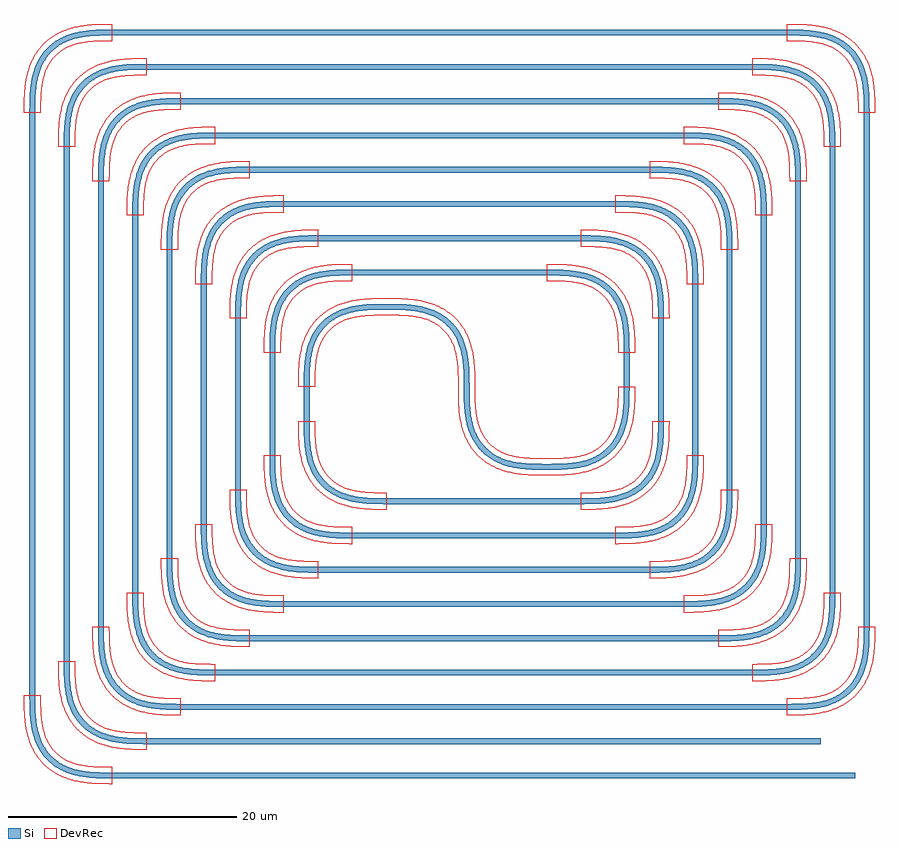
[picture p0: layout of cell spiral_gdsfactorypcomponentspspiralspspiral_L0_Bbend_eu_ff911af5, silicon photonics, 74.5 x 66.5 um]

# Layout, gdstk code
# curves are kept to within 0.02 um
from math import pi, radians
import gdstk
lib = gdstk.Library(unit=1e-6, precision=1e-09)
def R(c, l, rs):  # rectangles x0, y0, x1, y1
    for r in rs: c.add(gdstk.rectangle(r[:2], r[2:], *l))
def P(c, l, *ps):  # polygons
    for p in ps: c.add(gdstk.Polygon(p, *l))
Si = (1, 0)
DevRec = (68, 0)

straight_l3_csxs_491b35b = lib.new_cell('straight_L3_CSxs_491b35bd_WNone_N2$1')
R(straight_l3_csxs_491b35b, Si, [(0,-0.25,3,0.25)])

straight_l47_csxs_491b35 = lib.new_cell('straight_L47_CSxs_491b35bd_WNone_N2')
R(straight_l47_csxs_491b35, Si, [(0,-0.25,47,0.25)])

bend_euler_gdsfactorypco = lib.new_cell('bend_euler_gdsfactorypcomponentspbendspbend_euler_R7_A9_be902ce5$1')
P(bend_euler_gdsfactorypco, Si, [(0,-0.25),(0,0.25),(1.128,0.261),(1.963,0.311),(2.647,0.4),(3.315,0.55),(3.955,0.773),(4.438,1.011),(4.899,1.315),(5.318,1.682),(5.685,2.101),(5.989,2.562),(6.227,3.045),(6.45,3.685),(6.6,4.353),(6.689,5.037),(6.739,5.872),(6.75,7),(7.25,7),(7.238,5.856),(7.187,4.99),(7.092,4.267),(6.931,3.55),(6.744,2.988),(6.424,2.314),(6.083,1.798),(5.672,1.328),(5.202,0.917),(4.686,0.576),(4.012,0.256),(3.45,0.069),(2.733,-0.092),(2.01,-0.187),(1.144,-0.238)])
P(bend_euler_gdsfactorypco, DevRec, [(0,-0.75),(0,0.75),(1.785,0.797),(2.435,0.872),(3.059,0.999),(3.648,1.188),(4.087,1.388),(4.497,1.64),(4.965,2.035),(5.36,2.503),(5.612,2.913),(5.812,3.352),(6.001,3.941),(6.128,4.565),(6.203,5.215),(6.25,7),(7.75,7),(7.738,5.841),(7.685,4.944),(7.585,4.182),(7.413,3.414),(7.148,2.655),(6.858,2.066),(6.481,1.495),(6.025,0.975),(5.505,0.519),(4.934,0.142),(4.345,-0.148),(3.586,-0.413),(2.818,-0.585),(2.056,-0.685),(1.159,-0.738)])

straight_l35_csxs_491b35 = lib.new_cell('straight_L35_CSxs_491b35bd_WNone_N2')
R(straight_l35_csxs_491b35, Si, [(0,-0.25,35,0.25)])

straight_l17_csxs_491b35 = lib.new_cell('straight_L17_CSxs_491b35bd_WNone_N2')
R(straight_l17_csxs_491b35, Si, [(0,-0.25,17,0.25)])

straight_l9_csxs_491b35b = lib.new_cell('straight_L9_CSxs_491b35bd_WNone_N2$1')
R(straight_l9_csxs_491b35b, Si, [(0,-0.25,9,0.25)])

straight_l23_csxs_491b35 = lib.new_cell('straight_L23_CSxs_491b35bd_WNone_N2')
R(straight_l23_csxs_491b35, Si, [(0,-0.25,23,0.25)])

straight_l15_csxs_491b35 = lib.new_cell('straight_L15_CSxs_491b35bd_WNone_N2$1')
R(straight_l15_csxs_491b35, Si, [(0,-0.25,15,0.25)])

straight_l29_csxs_491b35 = lib.new_cell('straight_L29_CSxs_491b35bd_WNone_N2')
R(straight_l29_csxs_491b35, Si, [(0,-0.25,29,0.25)])

straight_l21_csxs_491b35 = lib.new_cell('straight_L21_CSxs_491b35bd_WNone_N2$1')
R(straight_l21_csxs_491b35, Si, [(0,-0.25,21,0.25)])

straight_l33_csxs_491b35 = lib.new_cell('straight_L33_CSxs_491b35bd_WNone_N2$1')
R(straight_l33_csxs_491b35, Si, [(0,-0.25,33,0.25)])

straight_l27_csxs_491b35 = lib.new_cell('straight_L27_CSxs_491b35bd_WNone_N2$1')
R(straight_l27_csxs_491b35, Si, [(0,-0.25,27,0.25)])

straight_l41_csxs_491b35 = lib.new_cell('straight_L41_CSxs_491b35bd_WNone_N2')
R(straight_l41_csxs_491b35, Si, [(0,-0.25,41,0.25)])

straight_l39_csxs_491b35 = lib.new_cell('straight_L39_CSxs_491b35bd_WNone_N2$1')
R(straight_l39_csxs_491b35, Si, [(0,-0.25,39,0.25)])

straight_l53_csxs_491b35 = lib.new_cell('straight_L53_CSxs_491b35bd_WNone_N2')
R(straight_l53_csxs_491b35, Si, [(0,-0.25,53,0.25)])

straight_l45_csxs_491b35 = lib.new_cell('straight_L45_CSxs_491b35bd_WNone_N2$1')
R(straight_l45_csxs_491b35, Si, [(0,-0.25,45,0.25)])

straight_l59_csxs_491b35 = lib.new_cell('straight_L59_CSxs_491b35bd_WNone_N2')
R(straight_l59_csxs_491b35, Si, [(0,-0.25,59,0.25)])

straight_l51_csxs_491b35 = lib.new_cell('straight_L51_CSxs_491b35bd_WNone_N2$1')
R(straight_l51_csxs_491b35, Si, [(0,-0.25,51,0.25)])

straight_l65_csxs_491b35 = lib.new_cell('straight_L65_CSxs_491b35bd_WNone_N2')
R(straight_l65_csxs_491b35, Si, [(0,-0.25,65,0.25)])

spiral_gdsfactorypcompon = lib.new_cell('spiral_gdsfactorypcomponentspspiralspspiral_L0_Bbend_eu_ff911af5')
spiral_gdsfactorypcompon.add(gdstk.Reference(straight_l3_csxs_491b35b, (7,7), rotation=pi/2))
spiral_gdsfactorypcompon.add(gdstk.Reference(straight_l47_csxs_491b35, (-29,-18)))
spiral_gdsfactorypcompon.add(gdstk.Reference(bend_euler_gdsfactorypco, (0,0), rotation=pi, x_reflection=True))
spiral_gdsfactorypcompon.add(gdstk.Reference(bend_euler_gdsfactorypco, (-7,7), rotation=pi/2))
spiral_gdsfactorypcompon.add(gdstk.Reference(bend_euler_gdsfactorypco, (7,10), rotation=pi/2))
spiral_gdsfactorypcompon.add(gdstk.Reference(bend_euler_gdsfactorypco, (10,13), rotation=pi/2))
spiral_gdsfactorypcompon.add(gdstk.Reference(bend_euler_gdsfactorypco, (13,16), rotation=pi/2))
spiral_gdsfactorypcompon.add(gdstk.Reference(bend_euler_gdsfactorypco, (16,19), rotation=pi/2))
spiral_gdsfactorypcompon.add(gdstk.Reference(bend_euler_gdsfactorypco, (19,22), rotation=pi/2))
spiral_gdsfactorypcompon.add(gdstk.Reference(bend_euler_gdsfactorypco, (22,25), rotation=pi/2))
spiral_gdsfactorypcompon.add(gdstk.Reference(bend_euler_gdsfactorypco, (25,28), rotation=pi/2))
spiral_gdsfactorypcompon.add(gdstk.Reference(bend_euler_gdsfactorypco, (28,31), rotation=pi/2))
spiral_gdsfactorypcompon.add(gdstk.Reference(straight_l35_csxs_491b35, (9,26), rotation=pi))
spiral_gdsfactorypcompon.add(gdstk.Reference(bend_euler_gdsfactorypco, (-14,14), rotation=pi))
spiral_gdsfactorypcompon.add(gdstk.Reference(bend_euler_gdsfactorypco, (-17,17), rotation=pi))
spiral_gdsfactorypcompon.add(gdstk.Reference(bend_euler_gdsfactorypco, (-20,20), rotation=pi))
spiral_gdsfactorypcompon.add(gdstk.Reference(bend_euler_gdsfactorypco, (-23,23), rotation=pi))
spiral_gdsfactorypcompon.add(gdstk.Reference(bend_euler_gdsfactorypco, (-26,26), rotation=pi))
spiral_gdsfactorypcompon.add(gdstk.Reference(bend_euler_gdsfactorypco, (-29,29), rotation=pi))
spiral_gdsfactorypcompon.add(gdstk.Reference(bend_euler_gdsfactorypco, (-32,32), rotation=pi))
spiral_gdsfactorypcompon.add(gdstk.Reference(bend_euler_gdsfactorypco, (-35,35), rotation=pi))
spiral_gdsfactorypcompon.add(gdstk.Reference(bend_euler_gdsfactorypco, (-38,38), rotation=pi))
spiral_gdsfactorypcompon.add(gdstk.Reference(bend_euler_gdsfactorypco, (-45,-20), rotation=3*pi/2))
spiral_gdsfactorypcompon.add(gdstk.Reference(bend_euler_gdsfactorypco, (-42,-17), rotation=3*pi/2))
spiral_gdsfactorypcompon.add(gdstk.Reference(bend_euler_gdsfactorypco, (-39,-14), rotation=3*pi/2))
spiral_gdsfactorypcompon.add(gdstk.Reference(bend_euler_gdsfactorypco, (-36,-11), rotation=3*pi/2))
spiral_gdsfactorypcompon.add(gdstk.Reference(bend_euler_gdsfactorypco, (-33,-8), rotation=3*pi/2))
spiral_gdsfactorypcompon.add(gdstk.Reference(bend_euler_gdsfactorypco, (-30,-5), rotation=3*pi/2))
spiral_gdsfactorypcompon.add(gdstk.Reference(bend_euler_gdsfactorypco, (-27,-2), rotation=3*pi/2))
spiral_gdsfactorypcompon.add(gdstk.Reference(bend_euler_gdsfactorypco, (-24,1), rotation=3*pi/2))
spiral_gdsfactorypcompon.add(gdstk.Reference(bend_euler_gdsfactorypco, (-21,4), rotation=3*pi/2))
spiral_gdsfactorypcompon.add(gdstk.Reference(straight_l17_csxs_491b35, (-14,-3)))
spiral_gdsfactorypcompon.add(gdstk.Reference(straight_l3_csxs_491b35b, (-21,7), rotation=3*pi/2))
spiral_gdsfactorypcompon.add(gdstk.Reference(straight_l35_csxs_491b35, (-23,-12)))
spiral_gdsfactorypcompon.add(gdstk.Reference(bend_euler_gdsfactorypco, (21,-21)))
spiral_gdsfactorypcompon.add(gdstk.Reference(bend_euler_gdsfactorypco, (18,-18)))
spiral_gdsfactorypcompon.add(gdstk.Reference(bend_euler_gdsfactorypco, (15,-15)))
spiral_gdsfactorypcompon.add(gdstk.Reference(bend_euler_gdsfactorypco, (12,-12)))
spiral_gdsfactorypcompon.add(gdstk.Reference(bend_euler_gdsfactorypco, (9,-9)))
spiral_gdsfactorypcompon.add(gdstk.Reference(bend_euler_gdsfactorypco, (6,-6)))
spiral_gdsfactorypcompon.add(gdstk.Reference(bend_euler_gdsfactorypco, (3,-3)))
spiral_gdsfactorypcompon.add(gdstk.Reference(bend_euler_gdsfactorypco, (0,0)))
spiral_gdsfactorypcompon.add(gdstk.Reference(straight_l9_csxs_491b35b, (10,4), rotation=pi/2))
spiral_gdsfactorypcompon.add(gdstk.Reference(straight_l17_csxs_491b35, (0,17), rotation=pi))
spiral_gdsfactorypcompon.add(gdstk.Reference(straight_l23_csxs_491b35, (3,20), rotation=pi))
spiral_gdsfactorypcompon.add(gdstk.Reference(straight_l9_csxs_491b35b, (-24,10), rotation=3*pi/2))
spiral_gdsfactorypcompon.add(gdstk.Reference(straight_l15_csxs_491b35, (-27,13), rotation=3*pi/2))
spiral_gdsfactorypcompon.add(gdstk.Reference(straight_l23_csxs_491b35, (-17,-6)))
spiral_gdsfactorypcompon.add(gdstk.Reference(straight_l29_csxs_491b35, (-20,-9)))
spiral_gdsfactorypcompon.add(gdstk.Reference(straight_l15_csxs_491b35, (13,1), rotation=pi/2))
spiral_gdsfactorypcompon.add(gdstk.Reference(straight_l21_csxs_491b35, (16,-2), rotation=pi/2))
spiral_gdsfactorypcompon.add(gdstk.Reference(straight_l29_csxs_491b35, (6,23), rotation=pi))
spiral_gdsfactorypcompon.add(gdstk.Reference(straight_l21_csxs_491b35, (-30,16), rotation=3*pi/2))
spiral_gdsfactorypcompon.add(gdstk.Reference(straight_l33_csxs_491b35, (22,-8), rotation=pi/2))
spiral_gdsfactorypcompon.add(gdstk.Reference(straight_l27_csxs_491b35, (-33,19), rotation=3*pi/2))
spiral_gdsfactorypcompon.add(gdstk.Reference(straight_l41_csxs_491b35, (-26,-15)))
spiral_gdsfactorypcompon.add(gdstk.Reference(straight_l33_csxs_491b35, (-36,22), rotation=3*pi/2))
spiral_gdsfactorypcompon.add(gdstk.Reference(straight_l27_csxs_491b35, (19,-5), rotation=pi/2))
spiral_gdsfactorypcompon.add(gdstk.Reference(straight_l41_csxs_491b35, (12,29), rotation=pi))
spiral_gdsfactorypcompon.add(gdstk.Reference(straight_l47_csxs_491b35, (15,32), rotation=pi))
spiral_gdsfactorypcompon.add(gdstk.Reference(straight_l39_csxs_491b35, (-39,25), rotation=3*pi/2))
spiral_gdsfactorypcompon.add(gdstk.Reference(straight_l53_csxs_491b35, (-32,-21)))
spiral_gdsfactorypcompon.add(gdstk.Reference(straight_l39_csxs_491b35, (25,-11), rotation=pi/2))
spiral_gdsfactorypcompon.add(gdstk.Reference(straight_l45_csxs_491b35, (28,-14), rotation=pi/2))
spiral_gdsfactorypcompon.add(gdstk.Reference(straight_l53_csxs_491b35, (18,35), rotation=pi))
spiral_gdsfactorypcompon.add(gdstk.Reference(straight_l59_csxs_491b35, (21,38), rotation=pi))
spiral_gdsfactorypcompon.add(gdstk.Reference(straight_l45_csxs_491b35, (-42,28), rotation=3*pi/2))
spiral_gdsfactorypcompon.add(gdstk.Reference(straight_l51_csxs_491b35, (-45,31), rotation=3*pi/2))
spiral_gdsfactorypcompon.add(gdstk.Reference(straight_l59_csxs_491b35, (-35,-24)))
spiral_gdsfactorypcompon.add(gdstk.Reference(straight_l65_csxs_491b35, (-38,-27)))

lib.write_gds('spiral_gdsfactorypcomponentspspiralspspiral_L0_Bbend_eu_ff911af5.gds')
